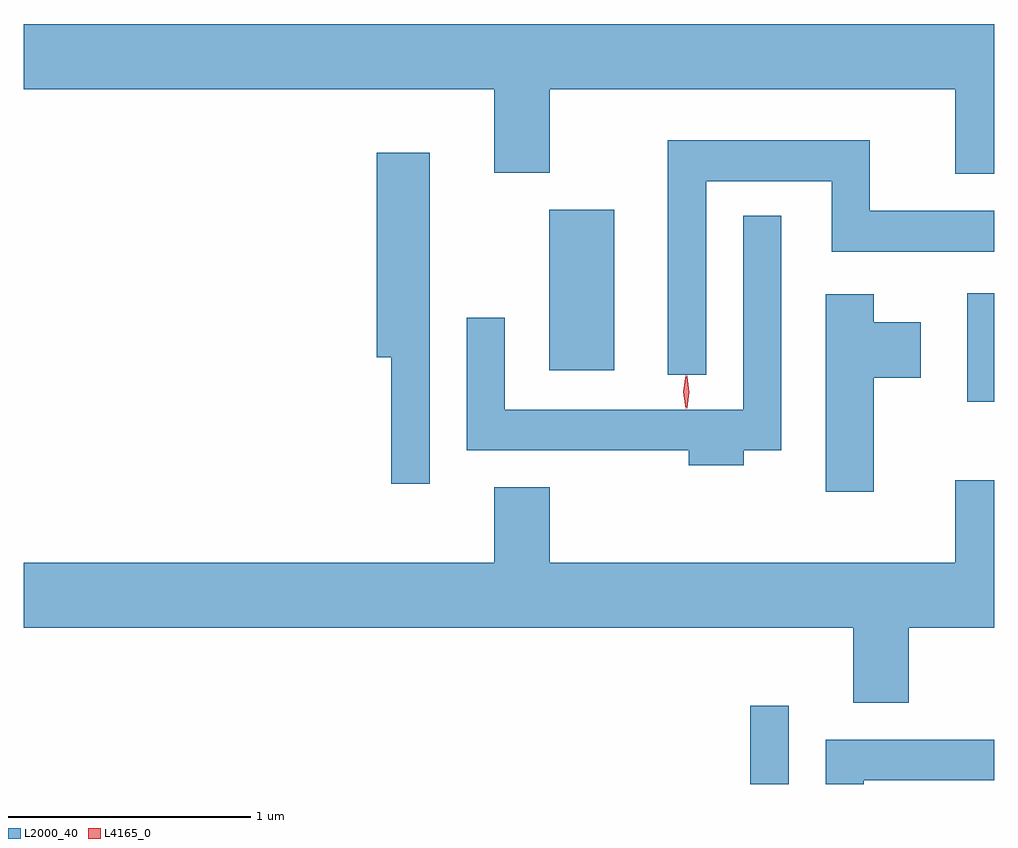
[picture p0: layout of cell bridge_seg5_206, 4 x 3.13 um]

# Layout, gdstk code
import gdstk
lib = gdstk.Library(unit=1e-6, precision=1e-09)
def R(c, l, rs):  # rectangles x0, y0, x1, y1
    for r in rs: c.add(gdstk.rectangle(r[:2], r[2:], *l))
def P(c, l, *ps):  # polygons
    for p in ps: c.add(gdstk.Polygon(p, *l))
L2000_40 = (2000, 40)
L4165_0 = (4165, 0)

bridge_seg5_206 = lib.new_cell('bridge_seg5_206')
R(bridge_seg5_206, L2000_40, [(1268.746,1418.411,1268.904,1418.733), (1269.641,1419.986,1269.751,1420.434), (1267.916,1420.116,1268.184,1420.779)])
P(bridge_seg5_206, L2000_40, [(1269.751,1421.544),(1265.751,1421.544),(1265.751,1421.276),(1267.691,1421.276),(1267.691,1420.931),(1267.919,1420.931),(1267.919,1421.276),(1269.591,1421.276),(1269.591,1420.926),(1269.751,1420.926)],
  [(1268.564,1420.896),(1269.081,1420.896),(1269.081,1420.606),(1269.751,1420.606),(1269.751,1420.774),(1269.239,1420.774),(1269.239,1421.064),(1268.406,1421.064),(1268.406,1420.098),(1268.564,1420.098)],
  [(1267.424,1421.014),(1267.206,1421.014),(1267.206,1420.171),(1267.266,1420.171),(1267.266,1419.648),(1267.424,1419.648)],
  [(1268.719,1419.786),(1268.874,1419.786),(1268.874,1420.753),(1268.716,1420.753),(1268.716,1419.954),(1267.734,1419.954),(1267.734,1420.333),(1267.576,1420.333),(1267.576,1419.786),(1268.491,1419.786),(1268.491,1419.726),(1268.719,1419.726)],
  [(1269.254,1420.086),(1269.449,1420.086),(1269.449,1420.314),(1269.254,1420.314),(1269.254,1420.429),(1269.056,1420.429),(1269.056,1419.616),(1269.254,1419.616)],
  [(1269.399,1419.056),(1269.751,1419.056),(1269.751,1419.664),(1269.591,1419.664),(1269.591,1419.324),(1267.919,1419.324),(1267.919,1419.634),(1267.691,1419.634),(1267.691,1419.324),(1265.751,1419.324),(1265.751,1419.056),(1269.171,1419.056),(1269.171,1418.746),(1269.399,1418.746)],
  [(1269.214,1418.426),(1269.751,1418.426),(1269.751,1418.594),(1269.056,1418.594),(1269.056,1418.411),(1269.214,1418.411)])
P(bridge_seg5_206, L4165_0, [(1268.479,1419.957),(1268.47,1420.027),(1268.479,1420.096),(1268.48,1420.096),(1268.48,1420.096),(1268.49,1420.027),(1268.48,1419.957),(1268.48,1419.957)],
  [(1268.485,1419.959),(1268.484,1419.96),(1268.475,1420.026),(1268.484,1420.092),(1268.485,1420.093),(1268.485,1420.092),(1268.495,1420.026),(1268.485,1419.96)])

lib.write_gds('bridge_seg5_206.gds')
